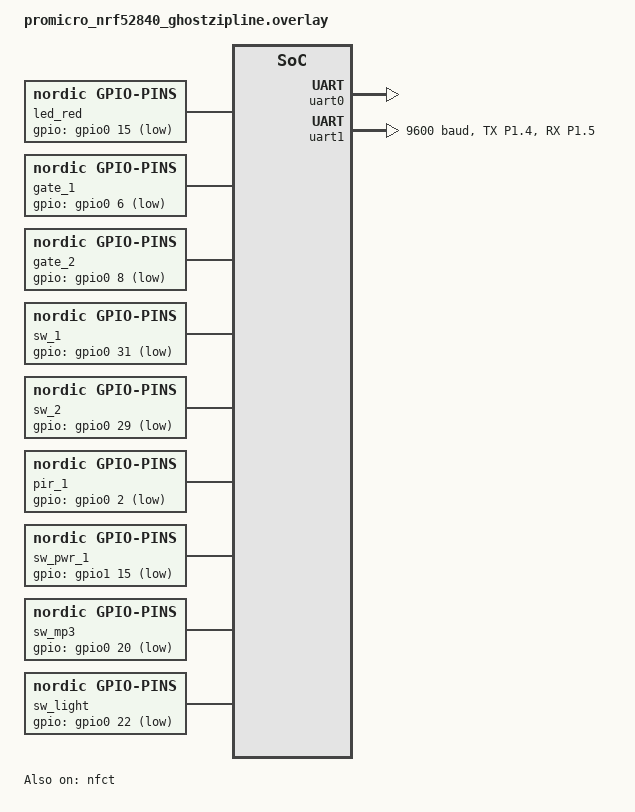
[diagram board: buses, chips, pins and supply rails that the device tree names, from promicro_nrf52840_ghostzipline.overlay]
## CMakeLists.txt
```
cmake_minimum_required(VERSION 3.20.0)
find_package(Zephyr REQUIRED HINTS $ENV{ZEPHYR_BASE})

project(main_controller)

target_sources(app PRIVATE
src/main.c
src/hardware/vdd_level.c
src/driver/dfplayer.c
)
```

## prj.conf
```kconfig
CONFIG_LOG=y
CONFIG_GPIO=y

CONFIG_SERIAL=y
CONFIG_UART_ASYNC_API=y
```

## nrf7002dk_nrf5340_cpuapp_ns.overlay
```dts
// To get started, press Ctrl+Space to bring up the completion menu and view the available nodes.

// You can also use the buttons in the sidebar to perform actions on nodes.
// Actions currently available include:

// * Enabling / disabling the node
// * Adding the bus to a bus
// * Removing the node
// * Connecting ADC channels

// For more help, browse the DeviceTree documentation at https://docs.zephyrproject.org/latest/guides/dts/index.html
// You can also visit the nRF DeviceTree extension documentation at https://docs.nordicsemi.com/bundle/nrf-connect-vscode/page/guides/ncs_configure_app.html#devicetree-support-in-the-extension

&gpio_fwd {
  status = "disabled";
};

&uart1 {
	status = "okay";
  current-speed = <9600>;
};


&uart1_default {
  group1 {
    psels = <NRF_PSEL(UART_TX, 1, 4)>;
  };

  group2 {
    psels = <NRF_PSEL(UART_RX, 1, 5)>;
  };
};
```

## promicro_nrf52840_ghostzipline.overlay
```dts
// To get started, press Ctrl+Space to bring up the completion menu and view the available nodes.

// You can also use the buttons in the sidebar to perform actions on nodes.
// Actions currently available include:

// * Enabling / disabling the node
// * Adding the bus to a bus
// * Removing the node
// * Connecting ADC channels

// For more help, browse the DeviceTree documentation at https://docs.zephyrproject.org/latest/guides/dts/index.html
// You can also visit the nRF DeviceTree extension documentation at https://docs.nordicsemi.com/bundle/nrf-connect-vscode/page/guides/ncs_configure_app.html#devicetree-support-in-the-extension

/ {
  led_red: led_red-gpios {
		compatible = "nordic,gpio-pins";
		gpios = <&gpio0 15 (GPIO_ACTIVE_LOW)>;
    status = "okay";
	};
  gate_1: gate-1 {
    compatible = "nordic,gpio-pins";
    gpios = <&gpio0 6 (GPIO_ACTIVE_LOW)>;
    status = "okay";
  };
  gate_2: gate-2 {
    compatible = "nordic,gpio-pins";
    gpios = <&gpio0 8 (GPIO_ACTIVE_LOW)>;
    status = "okay";
  };
  sw_1: sw-1 {
    compatible = "nordic,gpio-pins";
    gpios = <&gpio0 31 (GPIO_ACTIVE_LOW)>;
    status = "okay";
  };
  sw_2: sw-2 {
    compatible = "nordic,gpio-pins";
    gpios = <&gpio0 29 (GPIO_ACTIVE_LOW)>;
    status = "okay";
  };
  pir_1: pir-1 {
    compatible = "nordic,gpio-pins";
    gpios = <&gpio0 2 (GPIO_ACTIVE_LOW)>;
    status = "okay";
  };
  sw_pwr_1: sw-pwr-1 {
    compatible = "nordic,gpio-pins";
    gpios = <&gpio1 15 (GPIO_ACTIVE_LOW)>;
    status = "okay";
  };
	button_1: button-1 {
    compatible = "nordic,gpio-pins";
    gpios = <&gpio0 17 (GPIO_ACTIVE_LOW)>;
    status = "disabled";
  };

	sw_mp3: sw-mp3 {
    compatible = "nordic,gpio-pins";
    gpios = <&gpio0 20 (GPIO_ACTIVE_LOW)>;
    status = "okay";
  };

	sw_light: sw-light {
    compatible = "nordic,gpio-pins";
    gpios = <&gpio0 22 (GPIO_ACTIVE_LOW)>;
    status = "okay";
  };
  aliases {
    redled = &led_red;
    mp3 = &uart1;
  };

};
&gpio0 {
	status = "okay";
};

&gpio1 {
	status = "okay";
};

&gpiote {
	status = "okay";
};
&nfct {
  status = "okay";
};

&mx25r64 {
  status = "disabled";
};

&spi0 {
  status = "disabled";
};

&spi1 {
  status = "disabled";
};

&spi2 {
  status = "disabled";
};

&spi3 {
  status = "disabled";
};

&led2 {
  status = "disabled";
};

&qspi {
  status = "disabled";
};

&uart0 {
  status = "okay";
};

&pinctrl {
  uart1_default: uart1_default {
      group1 {
          psels = <NRF_PSEL(UART_TX, 1, 4)>;
      };
      group2 {
          psels = <NRF_PSEL(UART_RX, 1, 5)>;
      };
  };

  uart1_sleep: uart1_sleep {
      group1 {
          psels = <NRF_PSEL(UART_TX, 1, 4)>,
                  <NRF_PSEL(UART_RX, 1, 5)>;
          low-power-enable;
      };
  };
};

&uart1 {
    status = "okay";
    current-speed = <9600>;
    pinctrl-0 = <&uart1_default>;
    pinctrl-1 = <&uart1_sleep>;
    pinctrl-names = "default", "sleep";
};
```

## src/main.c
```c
#include <zephyr/kernel.h>
#include <zephyr/logging/log.h>
#include <zephyr/drivers/gpio.h>
#include "hardware/vdd_level.h"
#include "driver/dfplayer.h"

LOG_MODULE_REGISTER(main, LOG_LEVEL_DBG);

#define GPIO_NODE DT_ALIAS(redled)

static const struct gpio_dt_spec pin = GPIO_DT_SPEC_GET(GPIO_NODE, gpios);

int main(void)
{
  int err;
  err = set_vdd_level();
  if (err)
  {
    LOG_ERR("Failed when setting the vdd level to 3.3 V");
  }
  if (!gpio_is_ready_dt(&pin)) {
		err = -1;
    return err;
	}

	err = gpio_pin_configure_dt(&pin, GPIO_OUTPUT_ACTIVE);
	if (err < 0) {
		return err;
	}
  LOG_DBG("Starting application in main controller");
  LOG_DBG("Init dfplayer");
  err = dfplayer_init();
  if (err)
  {
    LOG_ERR("Failure during initialization of dfplayer");
  }
  LOG_DBG("Play track 1");
  dfplayer_play(1);
  while (1)
  {
    err = gpio_pin_toggle_dt(&pin);
		if (err < 0) {
			return err;
		}
    //dfplayer_play(1);
    k_msleep(2000);

  }
  return 0;
}
```
